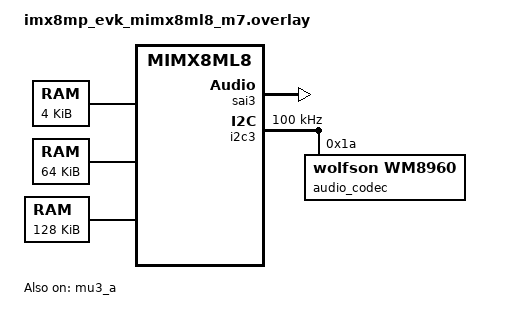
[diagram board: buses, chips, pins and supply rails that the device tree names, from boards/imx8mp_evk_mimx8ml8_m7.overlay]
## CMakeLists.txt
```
# Copyright 2026 NXP
# SPDX-License-Identifier: Apache-2.0

cmake_minimum_required(VERSION 3.20.0)
find_package(Zephyr REQUIRED HINTS $ENV{ZEPHYR_BASE})
project(mpipe_ipc_infer)

target_sources(app PRIVATE src/main.c)

if(CONFIG_SOC_MIMX8ML8_ADSP)
  # Inference runs only on the DSP. Building TFLM into the M7 image as well
  # would cost it a megabyte it has no use for.
  set(NO_THREADSAFE_STATICS $<TARGET_PROPERTY:compiler-cpp,no_threadsafe_statics>)
  zephyr_compile_options($<$<COMPILE_LANGUAGE:CXX>:${NO_THREADSAFE_STATICS}>)

  set(SIGNAL_DIR ${ZEPHYR_TFLITE_MICRO_MODULE_DIR}/signal)

  target_include_directories(app PRIVATE
    src
    ${SIGNAL_DIR}
    ${SIGNAL_DIR}/micro/kernels/
    ${SIGNAL_DIR}/src
  )

  file(GLOB inference_sources src/inference/*)
  target_sources(app PRIVATE
    ${inference_sources}

    ${SIGNAL_DIR}/src/fft_auto_scale.cc
    ${SIGNAL_DIR}/src/max_abs.cc
    ${SIGNAL_DIR}/src/msb_32.cc
    ${SIGNAL_DIR}/src/energy.cc
    ${SIGNAL_DIR}/src/filter_bank.cc
    ${SIGNAL_DIR}/src/pcan_argc_fixed.cc
    ${SIGNAL_DIR}/src/filter_bank_log.cc
    ${SIGNAL_DIR}/src/log.cc
    ${SIGNAL_DIR}/src/filter_bank_spectral_subtraction.cc

    ${SIGNAL_DIR}/micro/kernels/energy.cc
    ${SIGNAL_DIR}/micro/kernels/fft_auto_scale_common.cc
    ${SIGNAL_DIR}/micro/kernels/filter_bank_square_root_common.cc
    ${SIGNAL_DIR}/micro/kernels/filter_bank_spectral_subtraction.cc
    ${SIGNAL_DIR}/micro/kernels/filter_bank.cc
    ${SIGNAL_DIR}/micro/kernels/pcan.cc
    ${SIGNAL_DIR}/micro/kernels/filter_bank_log.cc

    ${SIGNAL_DIR}/micro/kernels/xtensa/fft_auto_scale_kernel.cc
    ${SIGNAL_DIR}/micro/kernels/xtensa/filter_bank_square_root.cc
    ${SIGNAL_DIR}/micro/kernels/xtensa/xtensa_square_root.S
  )
else()
  target_sources(app PRIVATE src/test_clips.c)
endif()
```

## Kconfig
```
# Copyright 2026 NXP
# SPDX-License-Identifier: Apache-2.0

source "Kconfig.zephyr"

config SAMPLE_IPC_INFER_RATE
	int "Capture sample rate (Hz)"
	default 16000
	help
	  Pinned rather than negotiated. micro_speech is trained at 16 kHz, and
	  the peer sized its ring periods to match; a negotiation that landed
	  elsewhere would satisfy every element and still be the wrong audio.

config SAMPLE_IPC_INFER_GAIN_PERCENT
	int "Gain applied on the audible branch (percent)"
	default 300
	range 0 1000
	help
	  Applied only to the branch that reaches the codec, so monitoring can
	  be made loud enough to hear without changing what the model receives.
```

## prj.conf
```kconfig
CONFIG_MPIPE=y
CONFIG_MPIPE_IPC=y
CONFIG_IPC_SERVICE=y
CONFIG_MBOX=y
CONFIG_LOG=y
CONFIG_MAIN_STACK_SIZE=32768
CONFIG_HEAP_MEM_POOL_SIZE=16384
```

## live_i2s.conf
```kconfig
# Capture live from the I2S receiver and tee the audio to the codec as well.
# The AUDIOMIX handoff is required: the M7 can only drive the audio clock tree
# once boot firmware has given the domain up.
CONFIG_SAMPLE_IPC_INFER_LIVE_I2S=y

CONFIG_IMX8M_M7_AUDIOMIX_BOOT_HANDOFF=y
CONFIG_PINCTRL=y
CONFIG_I2C=y
CONFIG_I2S=y
CONFIG_DMA=y
CONFIG_DMA_NXP_SDMA=y
CONFIG_AUDIO_CODEC=y

CONFIG_MPIPE_BASE=y
CONFIG_MPIPE_BASE_CAPS_FILTER=y
# The tee is what makes the audio both audible and available to the peer.
CONFIG_MPIPE_BASE_TEE=y
CONFIG_MPIPE_AUD=y
CONFIG_MPIPE_PLAYER=y
CONFIG_ZBUS_MSG_SUBSCRIBER=y
CONFIG_ZBUS_PRIORITY_BOOST=n
CONFIG_ZBUS_LOG_LEVEL_ERR=y

# One buffer is 10 ms of 16 kHz stereo 16-bit = 640 bytes. The M7 keeps its
# code and data in TCM, which the loopback sample's 2048 x 20 pool does not fit
# alongside the IPC stack.
CONFIG_MPIPE_AUD_BUFFER_POOL_SZ_MAX=768
CONFIG_MPIPE_AUD_BUFFER_POOL_NUM_MAX=12
CONFIG_MPIPE_AUD_I2S_CODEC_SINK_SILENCE_PRIME=y

# The M7 runs from TCM, and the pipeline plus the IPC stack do not leave room
# for deferred logging's machinery. Minimal mode keeps the messages and drops
# the formatting engine behind them.
CONFIG_LOG_MODE_MINIMAL=y
CONFIG_MPIPE_PLAYER_DUMP_ON_STATE_CHANGE=n
CONFIG_MPIPE_IPC_PLUGIN=y
```

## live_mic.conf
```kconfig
# Capture from the PDM microphone. The AUDIOMIX handoff is required: the M7 can
# only drive the audio clock tree once Linux has given the domain up.
CONFIG_IMX8M_M7_AUDIOMIX_BOOT_HANDOFF=y
CONFIG_PINCTRL=y
CONFIG_AUDIO=y
CONFIG_AUDIO_DMIC=y
```

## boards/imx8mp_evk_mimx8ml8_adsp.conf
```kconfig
CONFIG_CPP=y
CONFIG_STD_CPP17=y
CONFIG_TENSORFLOW_LITE_MICRO=y

# The DSP runs the far half of the pipeline: an IPC source feeding inference.
CONFIG_MPIPE_BASE=y
CONFIG_MPIPE_BASE_QUEUE=y
# Keep the mailbox workqueue shallow: it only hands buffers to this queue.
# micro_speech runs on the queue's worker and needs substantially more than
# the generic 1 KiB streaming stack.
CONFIG_MPIPE_BASE_QUEUE_MAX_SIZE=8
CONFIG_MPIPE_THREAD_STACK_SIZE=8192
CONFIG_MPIPE_AUD=y
CONFIG_MPIPE_PLAYER=y
CONFIG_MPIPE_IPC_PLUGIN=y
CONFIG_ZBUS_MSG_SUBSCRIBER=y
CONFIG_ZBUS_PRIORITY_BOOST=n
CONFIG_ZBUS_LOG_LEVEL_ERR=y

# Two endpoints on one instance: control, and the pipeline's audio.
CONFIG_IPC_SERVICE_BACKEND_RPMSG_NUM_ENDPOINTS_PER_INSTANCE=4
```

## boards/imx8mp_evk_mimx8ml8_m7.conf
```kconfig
# The M7 half: capture from the I2S receiver and tee the audio to the codec as
# well, so what the model is given can also be heard.
#
# The AUDIOMIX handoff is required: the M7 can only drive the audio clock tree
# once boot firmware has given the domain up.
CONFIG_IMX8M_M7_AUDIOMIX_BOOT_HANDOFF=y
CONFIG_PINCTRL=y
CONFIG_I2C=y
CONFIG_I2S=y
CONFIG_DMA=y
CONFIG_DMA_NXP_SDMA=y
CONFIG_AUDIO_CODEC=y

CONFIG_MPIPE_BASE=y
CONFIG_MPIPE_BASE_CAPS_FILTER=y
# The tee is what makes the audio both audible and available to the peer.
CONFIG_MPIPE_BASE_TEE=y
CONFIG_MPIPE_AUD=y
CONFIG_MPIPE_PLAYER=y
CONFIG_ZBUS_MSG_SUBSCRIBER=y
CONFIG_ZBUS_PRIORITY_BOOST=n
CONFIG_ZBUS_LOG_LEVEL_ERR=y

# One buffer is 10 ms of 16 kHz stereo 16-bit = 640 bytes.
#
# The pool has to cover everything in flight at once, and a tee plus a
# cross-core branch is a lot more than a linear pipeline: the tee references the
# same buffer on both branches, the codec branch holds a few in its transmit
# queue, and the IPC branch holds up to MPIPE_IPC_PLUGIN_MAX_BUFFERS of them for
# a whole round trip to the DSP and back. Sized too small, the I2S source cannot
# allocate and the pipeline stops with -ENOBUFS.
CONFIG_MPIPE_AUD_BUFFER_POOL_SZ_MAX=768
CONFIG_MPIPE_AUD_BUFFER_POOL_NUM_MAX=24

# The shared net_buf pool defaults to one buffer, which is enough only for a
# pipeline that holds one buffer at a time. This one holds many.
CONFIG_MPIPE_NET_BUF_POOL_COUNT=32
CONFIG_MPIPE_AUD_I2S_CODEC_SINK_SILENCE_PRIME=y

# The M7 runs from TCM, and the pipeline plus the IPC stack do not leave room
# for deferred logging's machinery. Minimal mode keeps the messages and drops
# the formatting engine behind them.
CONFIG_LOG_MODE_MINIMAL=y
CONFIG_MPIPE_PLAYER_DUMP_ON_STATE_CHANGE=n
CONFIG_MPIPE_IPC_PLUGIN=y
```

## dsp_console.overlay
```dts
/*
 * Copyright 2026 NXP
 * SPDX-License-Identifier: Apache-2.0
 *
 * Debug only: hand the shared UART to the DSP. Both cores' consoles are on
 * uart4, so the board overlay normally leaves it to the M7 and the DSP reports
 * through the control link instead. Build the M7 with quiet.overlay when using
 * this, or the two interleave.
 */
&uart4 {
	status = "okay";
};
```

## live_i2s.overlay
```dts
/*
 * Copyright 2026 NXP
 *
 * SPDX-License-Identifier: Apache-2.0
 *
 * Capture from the WM8960's analog input over SAI3, and play the same audio
 * back through the codec so it can be heard. Mirrors the wiring the audio
 * loopback sample uses on this board.
 */

#include <zephyr/dt-bindings/i2c/i2c.h>

/ {
	aliases {
		audio-codec-capture = &audio_codec;
		i2s-codec-rx = &sai3;
		i2s-codec-tx = &sai3;
	};
};

&sdma3 {
	status = "okay";
};

&sai3 {
	/delete-property/ dai-index;
	/delete-property/ mclk-is-output;
	compatible = "nxp,mcux-i2s";
	nxp,tx-channel = <1>;
	nxp,rx-sync-mode;
	mclk-output;
	pinctrl-0 = <&sai3_default>;
	pinctrl-names = "default";
	status = "okay";
};

&i2c3 {
	status = "okay";
	pinctrl-0 = <&pinmux_i2c3>;
	pinctrl-names = "default";
	clock-frequency = <I2C_BITRATE_STANDARD>;

	audio_codec: wm8960@1a {
		compatible = "wolfson,wm8960";
		reg = <0x1a>;
		clocks = <&ccm IMX_CCM_SAI3_CLK 0x0 0x0>;
		clock-names = "mclk";
		left-input = "WM8960_IN_MIC_DE_13";
		right-input = "WM8960_IN_MIC_DE_13";
		shared-lrclk;
	};
};
```

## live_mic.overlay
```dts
/*
 * Copyright 2026 NXP
 *
 * SPDX-License-Identifier: Apache-2.0
 *
 * Capture from the PDM microphone instead of sending baked-in clips.
 * MICFIL here is interrupt-driven off its FIFO watermark, so capture needs no
 * DMA channel.
 */

/*
 * Retarget the existing node rather than deleting and re-creating it. The SoC
 * gates the whole audio clock tree on DT_NODELABEL(micfil) being enabled, and a
 * replacement node under a new label leaves that label undefined -- the PDM root
 * then stays at its 24 MHz default and MICFIL samples at the wrong rate while
 * everything still builds and runs.
 */
&micfil {
	compatible = "nxp,micfil";
	/delete-property/ dai-index;
	/delete-property/ dmas;
	/delete-property/ fifo-depth;
	/delete-property/ clock-names;

	#address-cells = <1>;
	#size-cells = <0>;
	interrupts = <109 0>;
	quality-mode = <1>;
	cic-decimation-rate = <0>;
	fifo-watermark = <4>;
	sample-rate = <16000>;
	pinctrl-0 = <&pdm_default>;
	pinctrl-names = "default";
	status = "okay";

	/*
	 * The driver builds its channel-enable mask by walking these children.
	 * A node without them enables no PDM channel and captures silence while
	 * still building cleanly.
	 */
	micfil-channel@0 { reg = <0>; };
	micfil-channel@1 { reg = <1>; };
};
```

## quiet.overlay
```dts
/*
 * Copyright 2026 NXP
 * SPDX-License-Identifier: Apache-2.0
 *
 * Debug only: give up the shared UART so the other core can use it.
 */
&uart4 {
	status = "disabled";
};
```

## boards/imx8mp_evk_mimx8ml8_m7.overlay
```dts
/*
 * Copyright 2026 NXP
 * SPDX-License-Identifier: Apache-2.0
 */

#include <zephyr/dt-bindings/i2c/i2c.h>
#include <zephyr/dt-bindings/memory-attr/memory-attr-arm.h>

/ {
	/*
	 * The whole reserved window is 256 KiB at 0xa0000000. Every region below
	 * is a power-of-two size at a naturally aligned base, because the M7's
	 * ARMv7-M MPU can express nothing else: it rounds a size up to the next
	 * power of two and masks the base to match, so an odd region silently
	 * covers something other than what was asked for.
	 *
	 *   0xa0000000   4 KiB   bring-up control block
	 *   0xa0010000  64 KiB   IPC Service shared memory (control messages)
	 *   0xa0020000 128 KiB   audio buffer pool, readable by both cores
	 *
	 * The control block sits outside the region IPC Service owns. The
	 * static-vrings host clears its whole vdev status area on open, which
	 * would erase the retained session this design depends on.
	 */
	mpipe_ipc_ctrl: memory@a0000000 {
		compatible = "zephyr,memory-region", "mmio-sram";
		reg = <0xa0000000 DT_SIZE_K(4)>;
		zephyr,memory-region = "MPIPE_IPC_CTRL";
		zephyr,memory-attr = <DT_MEM_ARM(ATTR_MPU_RAM_NOCACHE)>;
	};

	mpipe_ipc_shm: memory@a0010000 {
		compatible = "zephyr,memory-region", "mmio-sram";
		reg = <0xa0010000 DT_SIZE_K(64)>;
		zephyr,memory-region = "MPIPE_IPC_SHM";
		zephyr,memory-attr = <DT_MEM_ARM(ATTR_MPU_RAM_NOCACHE)>;
	};

	mpipe_shared_pool: memory@a0020000 {
		compatible = "zephyr,memory-region", "mmio-sram";
		reg = <0xa0020000 DT_SIZE_K(128)>;
		zephyr,memory-region = "MPIPE_SHARED_POOL";
		zephyr,memory-attr = <DT_MEM_ARM(ATTR_MPU_RAM_NOCACHE)>;
	};

	ipc0: ipc0 {
		compatible = "zephyr,ipc-openamp-static-vrings";
		memory-region = <&mpipe_ipc_shm>;
		mboxes = <&mu3_a 0>, <&mu3_a 1>;
		mbox-names = "tx", "rx";
		role = "host";
		status = "okay";
	};
};

&mu3_a {
	status = "okay";
};

/*
 * Capture from the WM8960's analog input over SAI3, and play the same audio
 * back through the codec so it can be heard. Mirrors the wiring the audio
 * loopback sample uses on this board.
 */
/ {
	chosen {
		/*
		 * Buffers cross to the HiFi4 by address, so the pool must live
		 * where the HiFi4 can read it.
		 */
		zephyr,mpipe-aud-pool = &mpipe_shared_pool;
	};

	aliases {
		audio-codec-capture = &audio_codec;
		i2s-codec-rx = &sai3;
		i2s-codec-tx = &sai3;
	};
};

&sdma3 {
	status = "okay";
};

&sai3 {
	/delete-property/ dai-index;
	/delete-property/ mclk-is-output;
	compatible = "nxp,mcux-i2s";
	nxp,tx-channel = <1>;
	nxp,rx-sync-mode;
	mclk-output;
	pinctrl-0 = <&sai3_default>;
	pinctrl-names = "default";
	status = "okay";
};

&i2c3 {
	status = "okay";
	pinctrl-0 = <&pinmux_i2c3>;
	pinctrl-names = "default";
	clock-frequency = <I2C_BITRATE_STANDARD>;

	audio_codec: wm8960@1a {
		compatible = "wolfson,wm8960";
		reg = <0x1a>;
		clocks = <&ccm IMX_CCM_SAI3_CLK 0x0 0x0>;
		clock-names = "mclk";
		left-input = "WM8960_IN_MIC_DE_13";
		right-input = "WM8960_IN_MIC_DE_13";
		shared-lrclk;
	};
};
```

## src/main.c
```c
/*
 * Copyright 2026 NXP
 *
 * SPDX-License-Identifier: Apache-2.0
 */

/*
 * The end-to-end path, minus the microphone: the M7 streams 16 kHz mono audio
 * into the shared ring, the HiFi4 consumes it, runs micro_speech over each
 * second, and reports what it heard back over the control link.
 *
 * Both images are the same source. The role, the mailbox and the shared window
 * all come from devicetree; what differs is that only the DSP builds inference.
 */

#include <zephyr/kernel.h>
#include <zephyr/device.h>
#include <zephyr/ipc/ipc_service.h>
#include <zephyr/logging/log.h>
#include <zephyr/sys/atomic.h>
#include <zephyr/sys/byteorder.h>

#include <zephyr/mpipe/ipc/mpipe_ipc_protocol.h>
#include <zephyr/mpipe/ipc/mpipe_ipc_ring.h>
#include <zephyr/mpipe/ipc/mpipe_ipc_transport.h>

LOG_MODULE_REGISTER(mpipe_ipc_infer, LOG_LEVEL_INF);

#include <fsl_mu.h>

#ifdef CONFIG_SOC_MIMX8ML8_ADSP
/* The C surface of the C++ inference code. */
void model_runner_init(void);
int micro_speech_process_audio(const int16_t *audio_data, size_t audio_data_size);
const char *micro_speech_category_label(int category);

static void signal_linux_ready(void)
{
	MU_Type *const mu2_b = (MU_Type *)(uintptr_t)0x30e70000U;

	(void)MU_TriggerInterrupts(mu2_b, kMU_GenInt0InterruptTrigger);
}
#else
#include "test_clips.h"
static inline void signal_linux_ready(void) { }
#endif

#define IPC_NODE    DT_NODELABEL(ipc0)
#define SHARED_NODE DT_NODELABEL(mpipe_ipc_ctrl)
#define RING_NODE   DT_NODELABEL(mpipe_ipc_ring)

#define IS_HOST (DT_ENUM_IDX_OR(IPC_NODE, role, 0) == 0)

static volatile struct mpipe_ipc_shared *const shared =
	(volatile struct mpipe_ipc_shared *)DT_REG_ADDR(SHARED_NODE);
static volatile struct mpipe_ipc_ring_shared *const ring_shared =
	(volatile struct mpipe_ipc_ring_shared *)DT_REG_ADDR(RING_NODE);

/*
 * micro_speech wants 16 kHz mono, and it decides on one second at a time. A
 * 10 ms period keeps the ring's pacing the same as the audio format's, so one
 * decision is exactly 100 periods.
 */
#define SAMPLE_RATE_HZ     16000U
#define PERIOD_SAMPLES     160U
#define RING_PERIOD_BYTES  (PERIOD_SAMPLES * sizeof(int16_t))
#define RING_PERIOD_COUNT  64U
#define PERIODS_PER_WINDOW (SAMPLE_RATE_HZ / PERIOD_SAMPLES)
#define WINDOW_SAMPLES     (PERIODS_PER_WINDOW * PERIOD_SAMPLES)

BUILD_ASSERT(DT_REG_SIZE(RING_NODE) >=
		     MPIPE_IPC_RING_DATA_OFFSET +
			     (RING_PERIOD_BYTES * RING_PERIOD_COUNT),
	     "the reserved ring region is too small for this geometry");

static struct mpipe_ipc_transport transport;
static struct mpipe_ipc_ring ring;
static struct ipc_ept endpoint;

static K_SEM_DEFINE(endpoint_bound, 0, 1);

/* What the DSP reports upstream after each decision. */
#define RESULT_PAYLOAD_BYTES 8U
#define RESULT_OFF_WINDOW    0U
#define RESULT_OFF_CATEGORY  4U

static atomic_t reported_window = ATOMIC_INIT(-1);
static atomic_t reported_category;

static uint32_t ring_load(const volatile uint32_t *address)
{
	return *address;
}

static void ring_store(volatile uint32_t *address, uint32_t value)
{
	*address = value;
}

static const struct mpipe_ipc_ring_ops ring_ops = {
	.load = ring_load,
	.store = ring_store,
};

static int send_result(uint32_t window, uint32_t category)
{
	uint8_t frame[MPIPE_IPC_HEADER_LENGTH + RESULT_PAYLOAD_BYTES];
	uint8_t payload[RESULT_PAYLOAD_BYTES];
	struct mpipe_ipc_message message = {
		.header = { .cmd = MPIPE_IPC_CMD(MPIPE_IPC_TYPE_STATUS, 0U) },
		.payload = payload,
		.payload_length = sizeof(payload),
	};
	size_t written;
	int err;

	sys_put_le32(window, &payload[RESULT_OFF_WINDOW]);
	sys_put_le32(category, &payload[RESULT_OFF_CATEGORY]);

	err = mpipe_ipc_encode(frame, sizeof(frame), &message, &written);
	if (err != 0) {
		return err;
	}

	/* ipc_service_send() returns the byte count, not zero. */
	err = ipc_service_send(&endpoint, frame, written);
	if (err < 0) {
		return err;
	}

	return ((size_t)err == written) ? 0 : -EIO;
}

static void on_bound(void *priv)
{
	ARG_UNUSED(priv);
	k_sem_give(&endpoint_bound);
}

static void on_received(const void *data, size_t length, void *priv)
{
	struct mpipe_ipc_message message;
	int err;

	ARG_UNUSED(priv);

	/* Never act on bytes from an incarnation we did not handshake with. */
	if (mpipe_ipc_transport_check_peer(&transport) != 0) {
		return;
	}

	err = mpipe_ipc_decode(&message, data, length);
	if (err != 0) {
		LOG_WRN("dropped a malformed message of %zu bytes: %d", length, err);
		return;
	}

	if (MPIPE_IPC_CMD_TYPE(message.header.cmd) == MPIPE_IPC_TYPE_STATUS &&
	    message.payload_length >= RESULT_PAYLOAD_BYTES) {
		atomic_set(&reported_category,
			   (atomic_val_t)sys_get_le32(
				   &message.payload[RESULT_OFF_CATEGORY]));
		atomic_set(&reported_window,
			   (atomic_val_t)sys_get_le32(
				   &message.payload[RESULT_OFF_WINDOW]));
	}
}

static const struct ipc_ept_cfg endpoint_cfg = {
	.name = "mpipe.ctrl",
	.cb = { .bound = on_bound, .received = on_received },
};

#ifdef CONFIG_SOC_MIMX8ML8_ADSP
/* One second of audio, rebuilt from the ring a period at a time. */
static int16_t window[WINDOW_SAMPLES];
static uint32_t window_fill;
static uint32_t windows_done;

static void consume(void)
{
	while (true) {
		const int16_t *period = mpipe_ipc_ring_claim_read(&ring);
		int category;
		uint32_t started;
		uint32_t ms;

		if (period == NULL) {
			return;
		}

		memcpy(&window[window_fill], period, RING_PERIOD_BYTES);
		(void)mpipe_ipc_ring_commit_read(&ring);
		window_fill += PERIOD_SAMPLES;

		if (window_fill < WINDOW_SAMPLES) {
			continue;
		}

		window_fill = 0U;

		started = k_cycle_get_32();
		category = micro_speech_process_audio(window, WINDOW_SAMPLES);
		ms = k_cyc_to_ms_near32(k_cycle_get_32() - started);

		if (category < 0) {
			LOG_ERR("window %u: inference failed: %d", windows_done,
				category);
			continue;
		}

		LOG_INF("window %u: heard '%s' in %u ms", windows_done,
			micro_speech_category_label(category), ms);

		if (send_result(windows_done, (uint32_t)category) != 0) {
			LOG_WRN("window %u: could not report upstream",
				windows_done);
		}
		windows_done++;
	}
}
#else
/*
 * Send a different word each window, and remember which. Streaming one clip on
 * repeat would prove only that the remote keeps answering -- not that it is
 * listening: a stuck classifier scores the same as a working one. Cycling the
 * three clips makes a wrong answer visible.
 */
static const struct {
	const int16_t *samples;
	const char *name;
	uint32_t category;
} clips[] = {
	{ yes_clip, "yes", 2U },
	{ no_clip,  "no",  3U },
};

/*
 * Two words, not three: the M7's rodata lives in ITCM, which cannot hold a
 * third second of 16-bit PCM. Distinguishing "yes" from "no" is the part that
 * matters anyway -- both are speech, so a classifier that has stopped listening
 * cannot score on it by accident.
 */

static uint32_t periods_sent;

/* Which clip window N carries, so the answer can be checked against it. */
static uint32_t clip_for_window(uint32_t window)
{
	return window % ARRAY_SIZE(clips);
}

static void produce(void)
{
	for (uint32_t i = 0; i < 8U; i++) {
		int16_t *slot = mpipe_ipc_ring_claim_write(&ring);
		uint32_t window;
		uint32_t offset;
		const int16_t *clip;

		if (slot == NULL) {
			mpipe_ipc_ring_record_overrun(&ring);
			return;
		}

		/* Each window is exactly one clip, start to end. */
		window = periods_sent / PERIODS_PER_WINDOW;
		offset = (periods_sent % PERIODS_PER_WINDOW) * PERIOD_SAMPLES;
		clip = clips[clip_for_window(window)].samples;

		memcpy(slot, &clip[offset], RING_PERIOD_BYTES);
		periods_sent++;

		(void)mpipe_ipc_ring_commit_write(&ring);
	}
}
#endif

int main(void)
{
	const struct device *ipc = DEVICE_DT_GET(IPC_NODE);
	unsigned int generation = 0;
	bool streaming;
	bool bound;
#ifndef CONFIG_SOC_MIMX8ML8_ADSP
	uint32_t correct = 0;
	uint32_t wrong = 0;
#endif
	int err;

	signal_linux_ready();

	LOG_INF("mpipe IPC inference: role=%s", IS_HOST ? "host" : "remote");

#ifdef CONFIG_SOC_MIMX8ML8_ADSP
	model_runner_init();
	LOG_INF("micro_speech ready");
#endif

	if (!device_is_ready(ipc)) {
		LOG_ERR("IPC device not ready");
		return -ENODEV;
	}

	err = mpipe_ipc_transport_init(&transport, shared, &mpipe_ipc_zephyr_ops,
				       (void *)ipc, IS_HOST);
	if (err != 0) {
		LOG_ERR("transport init failed: %d", err);
		return err;
	}

	/* MU3 is clocked only while the DSP is up; see the bring-up sample. */
	(void)mpipe_ipc_transport_require_peer(&transport, true);

	while (true) {
		do {
			err = mpipe_ipc_transport_poll(&transport);
			if (err == -EAGAIN) {
				k_msleep(20);
			}
		} while (err == -EAGAIN);

		if (err != 0) {
			LOG_ERR("gen %u: bring-up failed: %d", generation, err);
			return err;
		}

		LOG_INF("gen %u: link up, session %u <-> %u", generation,
			transport.session.local_sid, transport.session.remote_sid);

		k_sem_reset(&endpoint_bound);
		err = ipc_service_register_endpoint(ipc, &endpoint, &endpoint_cfg);
		if (err != 0) {
			LOG_ERR("gen %u: cannot register endpoint: %d", generation,
				err);
			return err;
		}

		streaming = false;
		bound = false;

		do {
			k_msleep(10);
			err = mpipe_ipc_transport_poll(&transport);

			if (err == 0 && !bound &&
			    k_sem_take(&endpoint_bound, K_NO_WAIT) == 0) {
				bound = true;
				LOG_INF("gen %u: endpoint bound", generation);
			}

			if (err == 0 && transport.session.connected && !streaming) {
				int ring_err = mpipe_ipc_ring_init(
					&ring, ring_shared, &ring_ops, IS_HOST,
					RING_PERIOD_BYTES, RING_PERIOD_COUNT,
					DT_REG_SIZE(RING_NODE));

				if (ring_err == 0) {
					streaming = true;
					LOG_INF("gen %u: ring up, %u x %u bytes",
						generation, RING_PERIOD_COUNT,
						(unsigned int)RING_PERIOD_BYTES);
				} else if (ring_err != -EAGAIN) {
					LOG_ERR("gen %u: ring refused: %d",
						generation, ring_err);
				}
			}

			if (err == 0 && streaming) {
#ifdef CONFIG_SOC_MIMX8ML8_ADSP
				consume();
#else
				produce();

				if (atomic_get(&reported_window) >= 0) {
					uint32_t w =
						(uint32_t)atomic_get(&reported_window);
					uint32_t c =
						(uint32_t)atomic_get(&reported_category);
					uint32_t sent = clip_for_window(w);

					atomic_set(&reported_window, -1);

					if (c == clips[sent].category) {
						correct++;
					} else {
						wrong++;
						LOG_ERR("window %u: sent '%s', remote "
							"heard category %u",
							w, clips[sent].name, c);
					}

					if ((correct + wrong) % 15U == 0U) {
						LOG_INF("gen %u: %u windows correct, "
							"%u wrong",
							generation, correct, wrong);
					}
				}
#endif
			}
		} while (err == 0);

		LOG_WRN("gen %u: peer restarted; standing down", generation);
		(void)ipc_service_deregister_endpoint(&endpoint);
		(void)mpipe_ipc_transport_quiesce(&transport);
		k_msleep(200);
		generation++;

		err = mpipe_ipc_transport_rebuild(&transport);
		if (err != 0) {
			LOG_ERR("gen %u: cannot rebuild: %d", generation, err);
			return err;
		}
	}

	return 0;
}
```

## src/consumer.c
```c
/*
 * Copyright 2026 NXP
 *
 * SPDX-License-Identifier: Apache-2.0
 */

/*
 * The DSP half of the pipeline:
 *
 *   ipc_src -> infer_sink
 *
 * The trunk of this pipeline is on the other core. What arrives here are the
 * same buffers the M7 captured, read in place out of shared memory rather than
 * copied across.
 */

#include <zephyr/kernel.h>
#include <zephyr/logging/log.h>

#include <zephyr/mpipe/ipc/mpipe_ipc_plugin.h>
#include <zephyr/mpipe/mpipe_pipeline.h>
#include <zephyr/mpipe/utils/mpipe_player.h>

#include "consumer.h"
#include "infer_sink.h"

LOG_MODULE_DECLARE(mpipe_ipc_infer, LOG_LEVEL_INF);

enum {
	PIPE_ID = 0,
	IPC_SRC_ID,
	INFER_SINK_ID,
};

/* Matches what the peer's caps filter pins. */
#define CONSUMER_RATE_HZ  16000
#define CONSUMER_CHANNELS 2

static struct mpipe pipe;
static struct mpipe_ipc_src source;
static struct infer_sink infer;
static struct mpipe_player player;

int consumer_start(const struct device *ipc, infer_result_cb on_result)
{
	struct mpipe_structure caps;
	int ret;

	ret = mpipe_pipeline_init(&pipe, PIPE_ID);
	if (ret < 0) {
		goto err;
	}

	/* Same endpoint name as the peer's sink; that pairing is the link. */
	ret = mpipe_ipc_src_init(&source, IPC_SRC_ID, ipc, "mpipe.audio");
	if (ret < 0) {
		goto err;
	}
	ret = infer_sink_init(&infer, INFER_SINK_ID, CONSUMER_CHANNELS, on_result);
	if (ret < 0) {
		goto err;
	}

	/*
	 * The format is told to both halves rather than negotiated across the
	 * link; the plugin cannot carry a negotiation yet. Disagreeing here is
	 * silent -- every element accepts, and the audio is simply wrong.
	 */
	ret = mpipe_structure_init_fields(&caps, MPIPE_MEDIA_AUDIO_PCM,
					  MPIPE_CAPS_FRAME_INTERVAL, MPIPE_TYPE_UINT, 10000,
					  MPIPE_CAPS_NUM_OF_CHANNEL, MPIPE_TYPE_UINT,
					  CONSUMER_CHANNELS,
					  MPIPE_CAPS_SAMPLE_RATE, MPIPE_TYPE_UINT,
					  CONSUMER_RATE_HZ,
					  MPIPE_CAPS_BITWIDTH, MPIPE_TYPE_UINT, 16,
					  MPIPE_CAPS_END);
	if (ret < 0) {
		goto err;
	}

	ret = mpipe_bin_add((struct mpipe_bin *)&pipe, (struct mpipe_element *)&source,
			    (struct mpipe_element *)&infer, NULL);
	if (ret < 0) {
		goto err;
	}
	ret = mpipe_element_link((struct mpipe_element *)&source,
				 (struct mpipe_element *)&infer, NULL);
	if (ret < 0) {
		goto err;
	}

	ret = mpipe_ipc_src_set_format(&source, &caps);
	if (ret < 0) {
		goto err;
	}

	ret = mpipe_player_init(&player, &pipe);
	if (ret < 0) {
		goto err;
	}

	LOG_INF("inference pipeline: ipc_src -> micro_speech at %u Hz", CONSUMER_RATE_HZ);
	mpipe_player_play(&player);

	/* Only now is there somewhere for an arriving buffer to go. */
	ret = mpipe_ipc_src_start(&source);
	if (ret < 0) {
		goto err;
	}

	return 0;

err:
	LOG_ERR("cannot build the inference pipeline: %d", ret);

	return ret != 0 ? ret : -EIO;
}

bool consumer_is_bound(void)
{
	return mpipe_ipc_src_is_bound(&source);
}

/*
 * Progress, published where Linux can read it.
 *
 * This core has no console on this board -- both cores' consoles are the same
 * UART and the M7 keeps it -- so anything that goes wrong before a result is
 * produced is otherwise invisible. The area sits past the 256 bytes the
 * transport owns, inside the same reserved page.
 */
struct consumer_telemetry {
	uint32_t buffers;
	uint32_t windows;
	uint32_t last_category;
	uint32_t refused;
	uint32_t bound;
	uint32_t playing;
};

#define CONSUMER_TELEMETRY_ADDR (DT_REG_ADDR(DT_NODELABEL(mpipe_ipc_ctrl)) + 0x200U)

void consumer_publish(void)
{
	volatile struct consumer_telemetry *t =
		(volatile struct consumer_telemetry *)CONSUMER_TELEMETRY_ADDR;

	t->buffers = infer.buffers;
	t->windows = infer.windows;
	t->last_category = infer.last_category;
	t->refused = source.refused;
	t->bound = mpipe_ipc_src_is_bound(&source) ? 1U : 0U;
	t->playing = 1U;
}
```

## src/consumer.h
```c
/*
 * Copyright 2026 NXP
 *
 * SPDX-License-Identifier: Apache-2.0
 */

#ifndef MPIPE_IPC_INFER_CONSUMER_H_
#define MPIPE_IPC_INFER_CONSUMER_H_

#include <stdbool.h>

#include <zephyr/device.h>
#include <zephyr/mpipe/ipc/mpipe_ipc_transport.h>

#include "infer_sink.h"

/** Build and start the DSP-side pipeline. Called once the link is up. */
int consumer_start(const struct device *ipc, struct mpipe_ipc_transport *transport,
		   infer_result_cb on_result);

/** Stop the pipeline and deregister its audio endpoint. */
int consumer_stop(void);

/** True once the peer's sink has bound to this source. */
bool consumer_is_bound(void);

/** Publish progress into shared memory, for a core with no console. */
void consumer_publish(void);

#endif /* MPIPE_IPC_INFER_CONSUMER_H_ */
```

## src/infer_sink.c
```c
/*
 * Copyright 2026 NXP
 *
 * SPDX-License-Identifier: Apache-2.0
 */

/*
 * The end of the pipeline on the DSP: collect a second of audio and ask
 * micro_speech what it heard.
 *
 * Kept in the sample rather than the subsystem because the pieces it joins are
 * still moving -- the model comes from a pull request that has not landed, and
 * a model-agnostic inference element belongs in mpipe only once there is more
 * than one model to be agnostic about.
 */

#include <string.h>

#include <zephyr/kernel.h>
#include <zephyr/logging/log.h>
#include <zephyr/mpipe/mpipe_buffer.h>

#include "infer_sink.h"

LOG_MODULE_DECLARE(mpipe_ipc_infer, LOG_LEVEL_INF);

/* The C surface of the C++ inference code. */
int micro_speech_process_audio(const int16_t *audio_data, size_t audio_data_size);
const char *micro_speech_category_label(int category);

static int infer_chain_fn(struct mpipe_pad *pad, struct net_buf *in_buf,
			  struct net_buf **out_buf)
{
	struct infer_sink *infer;
	struct mpipe_buffer_meta *meta;
	const int16_t *samples;
	uint32_t frames;

	__ASSERT_NO_MSG(pad != NULL);
	__ASSERT_NO_MSG(in_buf != NULL);
	__ASSERT_NO_MSG(out_buf != NULL);

	infer = CONTAINER_OF(pad->object.container, struct infer_sink,
			     base.element.object);
	meta = mpipe_buffer_get_meta(in_buf);

	*out_buf = NULL;

	samples = (const int16_t *)in_buf->data;
	frames = meta->bytes_used / (infer->channels * sizeof(int16_t));

	for (uint32_t i = 0; i < frames; i++) {
		if (infer->fill >= INFER_WINDOW_SAMPLES) {
			break;
		}
		/* Keep one channel: the model is mono. */
		infer->window[infer->fill++] = samples[i * infer->channels];
	}

	/*
	 * Release before inferring, not after. The buffer belongs to the peer,
	 * and holding it across fifty milliseconds of inference would stall a
	 * capture running in real time on the other core.
	 */
	net_buf_unref(in_buf);

	if (infer->fill < INFER_WINDOW_SAMPLES) {
		return 0;
	}

	infer->fill = 0U;

	{
		uint32_t started = k_cycle_get_32();
		int category = micro_speech_process_audio(infer->window,
							  INFER_WINDOW_SAMPLES);
		uint32_t ms = k_cyc_to_ms_near32(k_cycle_get_32() - started);

		if (category < 0) {
			LOG_ERR("window %u: inference failed: %d", infer->windows,
				category);
			return 0;
		}

		LOG_INF("window %u: heard '%s' in %u ms", infer->windows,
			micro_speech_category_label(category), ms);

		if (infer->on_result != NULL) {
			infer->on_result(infer->windows, (uint32_t)category);
		}
		infer->windows++;
	}

	return 0;
}

int infer_sink_init(struct infer_sink *infer, uint8_t id, uint32_t channels,
		    infer_result_cb on_result)
{
	int ret;

	if (infer == NULL || channels == 0U) {
		return -EINVAL;
	}

	memset(infer, 0, sizeof(*infer));

	ret = mpipe_sink_init(&infer->base, id);
	if (ret < 0) {
		return ret;
	}

	infer->channels = channels;
	infer->on_result = on_result;
	infer->base.sink_pad.chain_fn = infer_chain_fn;

	return 0;
}
```

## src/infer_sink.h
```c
/*
 * Copyright 2026 NXP
 *
 * SPDX-License-Identifier: Apache-2.0
 */

#ifndef MPIPE_IPC_INFER_SINK_H_
#define MPIPE_IPC_INFER_SINK_H_

#include <stdint.h>

#include <zephyr/mpipe/mpipe_sink.h>

/* micro_speech decides on one second of 16 kHz audio at a time. */
#define INFER_WINDOW_SAMPLES 16000

/** Called with the category each time a window has been classified. */
typedef void (*infer_result_cb)(uint32_t window, uint32_t category);

/** Sink that collects a window of audio and classifies it. */
struct infer_sink {
	struct mpipe_sink base;
	int16_t window[INFER_WINDOW_SAMPLES];
	uint32_t fill;
	uint32_t windows;
	/** Buffers received from the peer, whether or not a window completed. */
	uint32_t buffers;
	uint32_t last_category;
	uint32_t channels;
	infer_result_cb on_result;
};

int infer_sink_init(struct infer_sink *infer, uint8_t id, uint32_t channels,
		    infer_result_cb on_result);

#endif /* MPIPE_IPC_INFER_SINK_H_ */
```

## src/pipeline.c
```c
/*
 * Copyright 2026 NXP
 *
 * SPDX-License-Identifier: Apache-2.0
 */

/*
 * The capture half of the demo, as a real pipeline:
 *
 *   i2s_src -> caps_filter -> tee -+-> gain -> i2s_codec_sink   (audible)
 *                                  +-> ipc_sink -> ring -> HiFi4
 *
 * The audible branch is not decoration. Keyword spotting can only tell you
 * whether the model agreed with you; hearing the same audio tells you whether
 * the microphone, the clocks and the gain are doing anything at all, which is a
 * different question and the one that fails first.
 */

#include <zephyr/devicetree.h>
#include <zephyr/kernel.h>
#include <zephyr/logging/log.h>

#include <zephyr/mpipe/aud/mpipe_aud_gain.h>
#include <zephyr/mpipe/aud/mpipe_aud_i2s_codec_sink.h>
#include <zephyr/mpipe/aud/mpipe_aud_i2s_src.h>
#include <zephyr/mpipe/base/mpipe_caps_filter.h>
#include <zephyr/mpipe/base/mpipe_tee.h>
#include <zephyr/mpipe/ipc/mpipe_ipc_plugin.h>
#include <zephyr/mpipe/mpipe_pipeline.h>
#include <zephyr/mpipe/utils/mpipe_player.h>

#include "producer.h"

LOG_MODULE_DECLARE(mpipe_ipc_infer, LOG_LEVEL_INF);

enum {
	PIPE_ID = 0,
	I2S_SRC_ID,
	CAPS_FILTER_ID,
	TEE_ID,
	GAIN_ID,
	I2S_SINK_ID,
	IPC_SINK_ID,
};

static const struct mpipe_ipc_region shared_payload = {
	.base = (void *)DT_REG_ADDR(DT_NODELABEL(mpipe_shared_pool)),
	.size = DT_REG_SIZE(DT_NODELABEL(mpipe_shared_pool)),
	.align = 4U,
};

/* Shared by the source and the audible sink, as in the loopback sample. */
__nocache struct k_mem_slab mem_slab;

static struct mpipe pipe;
static struct mpipe_aud_i2s_src source;
static struct mpipe_caps_filter caps_filter;
static struct mpipe_tee tee;
static struct mpipe_aud_gain gain;
static struct mpipe_aud_i2s_codec_sink audible;
static struct mpipe_ipc_sink forward;
static struct mpipe_player player;
static bool forward_initialized;
static bool player_initialized;

int producer_start(const struct device *ipc, struct mpipe_ipc_transport *transport)
{
	int gain_percent = CONFIG_SAMPLE_IPC_INFER_GAIN_PERCENT;
	struct mpipe_structure caps;
	int ret;

	ret = mpipe_pipeline_init(&pipe, PIPE_ID);
	if (ret < 0) {
		goto err;
	}

	ret = mpipe_aud_i2s_src_init(&source, I2S_SRC_ID,
				     DEVICE_DT_GET(DT_ALIAS(i2s_codec_rx)));
	if (ret < 0) {
		goto err;
	}
	ret = mpipe_caps_filter_init(&caps_filter, CAPS_FILTER_ID);
	if (ret < 0) {
		goto err;
	}
	ret = mpipe_tee_init(&tee, TEE_ID);
	if (ret < 0) {
		goto err;
	}
	ret = mpipe_aud_gain_init(&gain, GAIN_ID);
	if (ret < 0) {
		goto err;
	}
	ret = mpipe_aud_i2s_codec_sink_init(&audible, I2S_SINK_ID);
	if (ret < 0) {
		goto err;
	}
	/*
	 * The peer's source binds to this same endpoint name. Buffers cross by
	 * reference, so the pool feeding this sink has to live in memory the
	 * HiFi4 can address -- see the sample README.
	 */
	ret = mpipe_ipc_sink_init(&forward, IPC_SINK_ID, ipc, "mpipe.audio", &shared_payload,
				  transport);
	if (ret < 0) {
		goto err;
	}
	forward_initialized = true;

	ret = mpipe_object_set_properties((struct mpipe_object *)&source,
					  MPIPE_PROP_AUD_SRC_SLAB_PTR, &mem_slab,
					  MPIPE_PROP_LIST_END);
	if (ret < 0) {
		goto err;
	}
	ret = mpipe_object_set_properties((struct mpipe_object *)&audible,
					  MPIPE_PROP_AUD_SINK_SLAB_PTR, &mem_slab,
					  MPIPE_PROP_LIST_END);
	if (ret < 0) {
		goto err;
	}
	ret = mpipe_object_set_properties((struct mpipe_object *)&gain,
					  MPIPE_PROP_AUD_TRANSFORM_GAIN, &gain_percent,
					  MPIPE_PROP_LIST_END);
	if (ret < 0) {
		goto err;
	}

	/*
	 * Pin the format rather than negotiate it. The peer sized its ring
	 * periods before this pipeline existed, and micro_speech is trained at
	 * 16 kHz; a negotiation that landed on 48 kHz would satisfy every
	 * element here and still be the wrong audio.
	 */
	ret = mpipe_structure_init_fields(&caps, MPIPE_MEDIA_AUDIO_PCM,
					  MPIPE_CAPS_FRAME_INTERVAL, MPIPE_TYPE_UINT, 10000,
					  MPIPE_CAPS_NUM_OF_CHANNEL, MPIPE_TYPE_UINT, 2,
					  MPIPE_CAPS_SAMPLE_RATE, MPIPE_TYPE_UINT,
					  CONFIG_SAMPLE_IPC_INFER_RATE,
					  MPIPE_CAPS_END);
	if (ret < 0) {
		goto err;
	}
	ret = mpipe_object_set_properties((struct mpipe_object *)&caps_filter,
					  MPIPE_PROP_BASE_CAPS_FILTER_CAPS, &caps,
					  MPIPE_PROP_LIST_END);
	if (ret < 0) {
		goto err;
	}

	ret = mpipe_bin_add((struct mpipe_bin *)&pipe, (struct mpipe_element *)&source,
			    (struct mpipe_element *)&caps_filter,
			    (struct mpipe_element *)&tee, (struct mpipe_element *)&gain,
			    (struct mpipe_element *)&audible,
			    (struct mpipe_element *)&forward, NULL);
	if (ret < 0) {
		goto err;
	}

	/* Trunk, then the two branches. Each link takes the tee's next free pad. */
	ret = mpipe_element_link((struct mpipe_element *)&source,
				 (struct mpipe_element *)&caps_filter,
				 (struct mpipe_element *)&tee, NULL);
	if (ret < 0) {
		goto err;
	}
	ret = mpipe_element_link((struct mpipe_element *)&tee,
				 (struct mpipe_element *)&gain,
				 (struct mpipe_element *)&audible, NULL);
	if (ret < 0) {
		goto err;
	}
	ret = mpipe_element_link((struct mpipe_element *)&tee,
				 (struct mpipe_element *)&forward, NULL);
	if (ret < 0) {
		goto err;
	}

	ret = mpipe_player_init(&player, &pipe);
	if (ret < 0) {
		goto err;
	}
	player_initialized = true;

	LOG_INF("capture pipeline: i2s -> tee -> [speaker, HiFi4] at %u Hz",
		CONFIG_SAMPLE_IPC_INFER_RATE);
	ret = mpipe_player_play(&player);
	if (ret < 0) {
		goto err;
	}

	return 0;

err:
	LOG_ERR("cannot build the capture pipeline: %d", ret);
	return ret != 0 ? ret : -EIO;
}

int producer_stop(void)
{
	int first_error = 0;
	int ret;

	if (player_initialized) {
		ret = mpipe_player_deinit(&player);
		player_initialized = false;
		if (ret != 0) {
			first_error = ret;
		}
	}

	if (forward_initialized) {
		ret = mpipe_ipc_sink_deinit(&forward);
		if (ret == 0) {
			forward_initialized = false;
		} else if (first_error == 0) {
			first_error = ret;
		}
	}

	return first_error;
}

uint32_t producer_dropped(void)
{
	return (uint32_t)atomic_get(&forward.dropped);
}

/*
 * The mirror of the consumer's telemetry: with no console on either core that
 * can be relied on, shared memory is how both halves are observed at once.
 */
struct producer_telemetry {
	uint32_t dropped;
	uint32_t bound;
	uint32_t have_caps;
};

#define PRODUCER_TELEMETRY_ADDR (DT_REG_ADDR(DT_NODELABEL(mpipe_ipc_ctrl)) + 0x240U)

void producer_publish(void)
{
	volatile struct producer_telemetry *t =
		(volatile struct producer_telemetry *)PRODUCER_TELEMETRY_ADDR;

	t->dropped = (uint32_t)atomic_get(&forward.dropped);
	t->bound = mpipe_ipc_sink_is_bound(&forward) ? 1U : 0U;
	t->have_caps = atomic_get(&forward.have_caps) != 0 ? 1U : 0U;
}
```

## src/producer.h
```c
/*
 * Copyright 2026 NXP
 *
 * SPDX-License-Identifier: Apache-2.0
 */

/* What the host side of the sample needs from whichever audio source it has. */

#ifndef MPIPE_IPC_INFER_PRODUCER_H_
#define MPIPE_IPC_INFER_PRODUCER_H_

#include <stdint.h>

#include <zephyr/device.h>
#include <zephyr/mpipe/ipc/mpipe_ipc_transport.h>

/** Start producing. Called once the link to the peer is up. */
int producer_start(const struct device *ipc, struct mpipe_ipc_transport *transport);

/** Stop the pipeline and deregister its audio endpoint. */
int producer_stop(void);

/** Periods the peer could not keep up with. */
uint32_t producer_dropped(void);

/** Publish progress into shared memory, for a core with no usable console. */
void producer_publish(void);

#endif /* MPIPE_IPC_INFER_PRODUCER_H_ */
```

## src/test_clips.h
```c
#ifndef TEST_CLIPS_H_
#define TEST_CLIPS_H_

#include <stdint.h>
#include <stddef.h>

#ifdef __cplusplus
extern "C" {
#endif

extern const int16_t yes_clip[];
extern const size_t yes_clip_len;
extern const int16_t no_clip[];
extern const size_t no_clip_len;

#ifdef __cplusplus
}
#endif

#endif /* TEST_CLIPS_H_ */
```
